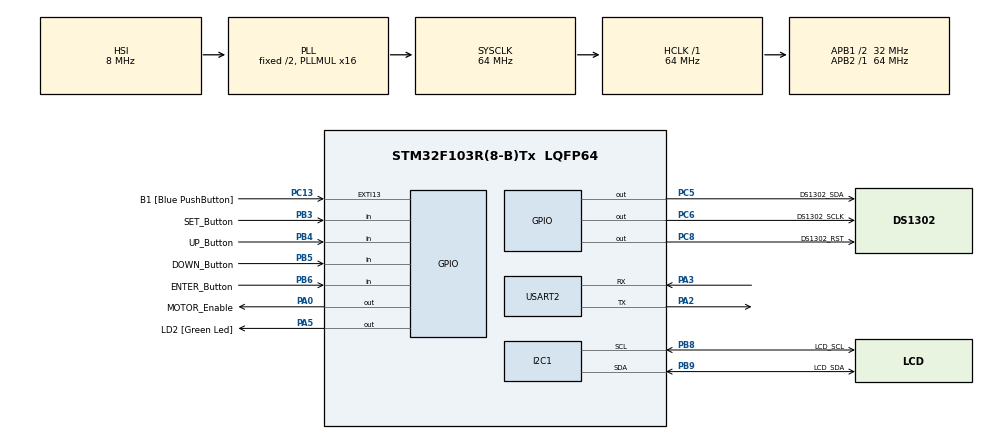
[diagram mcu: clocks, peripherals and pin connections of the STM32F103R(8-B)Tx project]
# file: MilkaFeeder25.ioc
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Mcu.Family=STM32F1
Mcu.Name=STM32F103R(8-B)Tx
Mcu.Package=LQFP64
NVIC.EXTI15_10_IRQn=true\:0\:0\:false\:false\:true\:true\:true\:true
NVIC.PriorityGroup=NVIC_PRIORITYGROUP_4
NVIC.TIM2_IRQn=true\:0\:0\:false\:false\:true\:true\:true\:true
NVIC.TIM3_IRQn=true\:0\:0\:false\:false\:true\:true\:true\:true
PA0-WKUP.GPIO_Label=MOTOR_Enable
PA0-WKUP.Signal=GPIO_Output
PA13.GPIO_Label=TMS
PA13.Mode=Serial_Wire
PA13.Signal=SYS_JTMS-SWDIO
PA14.GPIO_Label=TCK
PA14.Mode=Serial_Wire
PA14.Signal=SYS_JTCK-SWCLK
PA2.Mode=Asynchronous
PA2.Signal=USART2_TX
PA3.Mode=Asynchronous
PA3.Signal=USART2_RX
PA5.GPIO_Label=LD2 [Green Led]
PA5.GPIO_ModeDefaultOutputPP=GPIO_MODE_OUTPUT_PP
PA5.GPIO_PuPd=GPIO_NOPULL
PA5.GPIO_Speed=GPIO_SPEED_FREQ_LOW
PA5.Signal=GPIO_Output
PB3.GPIO_Label=SET_Button
PB3.GPIO_PuPd=GPIO_PULLDOWN
PB3.Signal=GPIO_Input
PB4.GPIO_Label=UP_Button
PB4.GPIO_PuPd=GPIO_PULLDOWN
PB4.Signal=GPIO_Input
PB5.GPIO_Label=DOWN_Button
PB5.GPIO_PuPd=GPIO_PULLDOWN
PB5.Signal=GPIO_Input
PB6.GPIO_Label=ENTER_Button
PB6.GPIO_PuPd=GPIO_PULLDOWN
PB6.Signal=GPIO_Input
PB8.GPIO_Label=LCD_SCL
PB8.Mode=I2C
PB8.Signal=I2C1_SCL
PB9.GPIO_Label=LCD_SDA
PB9.Mode=I2C
PB9.Signal=I2C1_SDA
PC13-TAMPER-RTC.GPIO_Label=B1 [Blue PushButton]
PC13-TAMPER-RTC.GPIO_ModeDefaultEXTI=GPIO_MODE_IT_FALLING
PC13-TAMPER-RTC.GPIO_PuPd=GPIO_NOPULL
PC13-TAMPER-RTC.Signal=GPXTI13
PC14-OSC32_IN.Mode=LSE-External-Oscillator
PC14-OSC32_IN.Signal=RCC_OSC32_IN
PC15-OSC32_OUT.Mode=LSE-External-Oscillator
PC15-OSC32_OUT.Signal=RCC_OSC32_OUT
PC5.GPIO_Label=DS1302_SDA
PC5.GPIO_Speed=GPIO_SPEED_FREQ_HIGH
PC5.Signal=GPIO_Output
PC6.GPIO_Label=DS1302_SCLK
PC6.GPIO_Speed=GPIO_SPEED_FREQ_HIGH
PC6.Signal=GPIO_Output
PC8.GPIO_Label=DS1302_RST
PC8.GPIO_Speed=GPIO_SPEED_FREQ_HIGH
PC8.Signal=GPIO_Output
ProjectManager.HeapSize=0x200
ProjectManager.StackSize=0x400
ProjectManager.TargetToolchain=STM32CubeIDE
RCC.AHBFreq_Value=64000000
RCC.APB1CLKDivider=RCC_HCLK_DIV2
RCC.APB1Freq_Value=32000000
RCC.APB1TimFreq_Value=64000000
RCC.APB2Freq_Value=64000000
RCC.APB2TimFreq_Value=64000000
RCC.HCLKFreq_Value=64000000
RCC.PLLMUL=RCC_PLL_MUL16
RCC.RTCClockSelection=RCC_RTCCLKSOURCE_LSE
RCC.SYSCLKFreq_VALUE=64000000
RCC.SYSCLKSource=RCC_SYSCLKSOURCE_PLLCLK
RCC.USBFreq_Value=64000000
TIM2.Period=10
TIM2.Prescaler=64000-1
TIM3.Period=2001
TIM3.Prescaler=64000 - 1
USART2.VirtualMode=VM_ASYNC
VP_RTC_VS_RTC_Activate.Mode=RTC_Enabled
VP_RTC_VS_RTC_Calendar.Mode=RTC_Calendar
VP_TIM2_VS_ClockSourceINT.Mode=Internal
VP_TIM3_VS_ClockSourceINT.Mode=Internal
board=NUCLEO-F103RB

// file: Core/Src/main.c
/* USER CODE BEGIN Header */
/**
  ******************************************************************************
  * @file           : main.c
  * @brief          : Main program body
  ******************************************************************************
  * @attention
  *
  * Copyright (c) 2024 STMicroelectronics.
  * All rights reserved.
  *
  * This software is licensed under terms that can be found in the LICENSE file
  * in the root directory of this software component.
  * If no LICENSE file comes with this software, it is provided AS-IS.
  *
  ******************************************************************************
  */
/* USER CODE END Header */
#include "main.h"

/* USER CODE BEGIN Includes */
#include "i2c-lcd.h"
/* USER CODE END Includes */

/* USER CODE BEGIN PD */
#define INIT_HOUR 0x15
#define INIT_MINUTE 0x30
#define INIT_SECOND 0x45
#define INIT_YEAR 0x24
#define INIT_MONTH RTC_MONTH_DECEMBER
#define INIT_DAY 0x18

#define DEBOUNCE_DELAY 3 // number of consecutive checks over ~30ms if sampling every 10ms
#define BUTTON_COUNT 4
/* USER CODE END PD */

I2C_HandleTypeDef hi2c1;

RTC_HandleTypeDef hrtc;

TIM_HandleTypeDef htim2;
TIM_HandleTypeDef htim3;

UART_HandleTypeDef huart2;

/* USER CODE BEGIN PV */
volatile uint8_t buttonStableState[BUTTON_COUNT] = {0, 0, 0, 0}; // all released initially
uint8_t buttonCounter[BUTTON_COUNT] = {0, 0, 0, 0};
char* days[7] = {"Sunday", "Monday", "Tuesday", "Wednesday", "Thursday", "Friday", "Saturday"};
/* USER CODE END PV */

void SystemClock_Config(void);
static void MX_GPIO_Init(void);
static void MX_I2C1_Init(void);
static void MX_RTC_Init(void);
static void MX_TIM2_Init(void);
static void MX_USART2_UART_Init(void);
static void MX_TIM3_Init(void);
/* USER CODE BEGIN PFP */
uint8_t read_button_pin(uint8_t buttonIndex);
void debounce_buttons(void);
AppState currentState = IDLE_STATE;
AppState lastState	  = IDLE_STATE;
/* USER CODE END PFP */

int main(void)
{

  /* MCU Configuration--------------------------------------------------------*/

  /* Reset of all peripherals, Initializes the Flash interface and the Systick. */
  HAL_Init();

  /* Configure the system clock */
  SystemClock_Config();

  /* Initialize all configured peripherals */
  MX_GPIO_Init();
  MX_I2C1_Init();
  MX_RTC_Init();
  MX_TIM2_Init();
  MX_USART2_UART_Init();
  MX_TIM3_Init();
  /* USER CODE BEGIN 2 */
  dwt_init();
  lcd_init();
  lcd_clear();
  HAL_TIM_Base_Start_IT(&htim2);
  DS1302_Init();
  /* use this code for set the time of DS1302
  uint8_t buf[8] = {0, 25, 1, 8, 14, 51, 0, 3};
  DS1302_WriteTime(buf);
  */
  setTimeDateFromExtRTC();
  /* USER CODE END 2 */

  /* Infinite loop */
  while (1)
  {

    /* USER CODE BEGIN 3 */
	  handleLCDMonitor();
	  checkIfIsTimeToFeed();
  }
  /* USER CODE END 3 */
}

void SystemClock_Config(void)
{
  RCC_OscInitTypeDef RCC_OscInitStruct = {0};
  RCC_ClkInitTypeDef RCC_ClkInitStruct = {0};
  RCC_PeriphCLKInitTypeDef PeriphClkInit = {0};

  /** Initializes the RCC Oscillators according to the specified parameters
  * in the RCC_OscInitTypeDef structure.
  */
  RCC_OscInitStruct.OscillatorType = RCC_OSCILLATORTYPE_HSI|RCC_OSCILLATORTYPE_LSE;
  RCC_OscInitStruct.LSEState = RCC_LSE_ON;
  RCC_OscInitStruct.HSIState = RCC_HSI_ON;
  RCC_OscInitStruct.HSICalibrationValue = RCC_HSICALIBRATION_DEFAULT;
  RCC_OscInitStruct.PLL.PLLState = RCC_PLL_ON;
  RCC_OscInitStruct.PLL.PLLSource = RCC_PLLSOURCE_HSI_DIV2;
  RCC_OscInitStruct.PLL.PLLMUL = RCC_PLL_MUL16;
  if (HAL_RCC_OscConfig(&RCC_OscInitStruct) != HAL_OK)
  {
    Error_Handler();
  }

  /** Initializes the CPU, AHB and APB buses clocks
  */
  RCC_ClkInitStruct.ClockType = RCC_CLOCKTYPE_HCLK|RCC_CLOCKTYPE_SYSCLK
                              |RCC_CLOCKTYPE_PCLK1|RCC_CLOCKTYPE_PCLK2;
  RCC_ClkInitStruct.SYSCLKSource = RCC_SYSCLKSOURCE_PLLCLK;
  RCC_ClkInitStruct.AHBCLKDivider = RCC_SYSCLK_DIV1;
  RCC_ClkInitStruct.APB1CLKDivider = RCC_HCLK_DIV2;
  RCC_ClkInitStruct.APB2CLKDivider = RCC_HCLK_DIV1;

  if (HAL_RCC_ClockConfig(&RCC_ClkInitStruct, FLASH_LATENCY_2) != HAL_OK)
  {
    Error_Handler();
  }
  PeriphClkInit.PeriphClockSelection = RCC_PERIPHCLK_RTC;
  PeriphClkInit.RTCClockSelection = RCC_RTCCLKSOURCE_LSE;
  if (HAL_RCCEx_PeriphCLKConfig(&PeriphClkInit) != HAL_OK)
  {
    Error_Handler();
  }
}

static void MX_I2C1_Init(void)
{

  hi2c1.Instance = I2C1;
  hi2c1.Init.ClockSpeed = 100000;
  hi2c1.Init.DutyCycle = I2C_DUTYCYCLE_2;
  hi2c1.Init.OwnAddress1 = 0;
  hi2c1.Init.AddressingMode = I2C_ADDRESSINGMODE_7BIT;
  hi2c1.Init.DualAddressMode = I2C_DUALADDRESS_DISABLE;
  hi2c1.Init.OwnAddress2 = 0;
  hi2c1.Init.GeneralCallMode = I2C_GENERALCALL_DISABLE;
  hi2c1.Init.NoStretchMode = I2C_NOSTRETCH_DISABLE;
  if (HAL_I2C_Init(&hi2c1) != HAL_OK)
  {
    Error_Handler();
  }

}

static void MX_RTC_Init(void)
{

  RTC_TimeTypeDef sTime = {0};
  RTC_DateTypeDef DateToUpdate = {0};

  /** Initialize RTC Only
  */
  hrtc.Instance = RTC;
  hrtc.Init.AsynchPrediv = RTC_AUTO_1_SECOND;
  hrtc.Init.OutPut = RTC_OUTPUTSOURCE_ALARM;
  if (HAL_RTC_Init(&hrtc) != HAL_OK)
  {
    Error_Handler();
  }

  /** Initialize RTC and set the Time and Date
  */
  sTime.Hours = 0x0;
  sTime.Minutes = 0x0;
  sTime.Seconds = 0x0;

  if (HAL_RTC_SetTime(&hrtc, &sTime, RTC_FORMAT_BCD) != HAL_OK)
  {
    Error_Handler();
  }
  DateToUpdate.WeekDay = RTC_WEEKDAY_MONDAY;
  DateToUpdate.Month = RTC_MONTH_JANUARY;
  DateToUpdate.Date = 0x1;
  DateToUpdate.Year = 0x0;

  if (HAL_RTC_SetDate(&hrtc, &DateToUpdate, RTC_FORMAT_BCD) != HAL_OK)
  {
    Error_Handler();
  }

}

static void MX_TIM2_Init(void)
{

  TIM_ClockConfigTypeDef sClockSourceConfig = {0};
  TIM_MasterConfigTypeDef sMasterConfig = {0};

  htim2.Instance = TIM2;
  htim2.Init.Prescaler = 64000-1;
  htim2.Init.CounterMode = TIM_COUNTERMODE_UP;
  htim2.Init.Period = 10;
  htim2.Init.ClockDivision = TIM_CLOCKDIVISION_DIV1;
  htim2.Init.AutoReloadPreload = TIM_AUTORELOAD_PRELOAD_DISABLE;
  if (HAL_TIM_Base_Init(&htim2) != HAL_OK)
  {
    Error_Handler();
  }
  sClockSourceConfig.ClockSource = TIM_CLOCKSOURCE_INTERNAL;
  if (HAL_TIM_ConfigClockSource(&htim2, &sClockSourceConfig) != HAL_OK)
  {
    Error_Handler();
  }
  sMasterConfig.MasterOutputTrigger = TIM_TRGO_RESET;
  sMasterConfig.MasterSlaveMode = TIM_MASTERSLAVEMODE_DISABLE;
  if (HAL_TIMEx_MasterConfigSynchronization(&htim2, &sMasterConfig) != HAL_OK)
  {
    Error_Handler();
  }

}

static void MX_TIM3_Init(void)
{

  TIM_ClockConfigTypeDef sClockSourceConfig = {0};
  TIM_MasterConfigTypeDef sMasterConfig = {0};

  htim3.Instance = TIM3;
  htim3.Init.Prescaler = 64000 - 1;
  htim3.Init.CounterMode = TIM_COUNTERMODE_UP;
  htim3.Init.Period = 2001;
  htim3.Init.ClockDivision = TIM_CLOCKDIVISION_DIV1;
  htim3.Init.AutoReloadPreload = TIM_AUTORELOAD_PRELOAD_DISABLE;
  if (HAL_TIM_Base_Init(&htim3) != HAL_OK)
  {
    Error_Handler();
  }
  sClockSourceConfig.ClockSource = TIM_CLOCKSOURCE_INTERNAL;
  if (HAL_TIM_ConfigClockSource(&htim3, &sClockSourceConfig) != HAL_OK)
  {
    Error_Handler();
  }
  sMasterConfig.MasterOutputTrigger = TIM_TRGO_RESET;
  sMasterConfig.MasterSlaveMode = TIM_MASTERSLAVEMODE_DISABLE;
  if (HAL_TIMEx_MasterConfigSynchronization(&htim3, &sMasterConfig) != HAL_OK)
  {
    Error_Handler();
  }

}

static void MX_USART2_UART_Init(void)
{

  huart2.Instance = USART2;
  huart2.Init.BaudRate = 115200;
  huart2.Init.WordLength = UART_WORDLENGTH_8B;
  huart2.Init.StopBits = UART_STOPBITS_1;
  huart2.Init.Parity = UART_PARITY_NONE;
  huart2.Init.Mode = UART_MODE_TX_RX;
  huart2.Init.HwFlowCtl = UART_HWCONTROL_NONE;
  huart2.Init.OverSampling = UART_OVERSAMPLING_16;
  if (HAL_UART_Init(&huart2) != HAL_OK)
  {
    Error_Handler();
  }

}

static void MX_GPIO_Init(void)
{
  GPIO_InitTypeDef GPIO_InitStruct = {0};

  /* GPIO Ports Clock Enable */
  __HAL_RCC_GPIOC_CLK_ENABLE();
  __HAL_RCC_GPIOA_CLK_ENABLE();
  __HAL_RCC_GPIOB_CLK_ENABLE();

  /*Configure GPIO pin Output Level */
  HAL_GPIO_WritePin(GPIOA, MOTOR_Enable_Pin|LD2_Pin, GPIO_PIN_RESET);

  /*Configure GPIO pin Output Level */
  HAL_GPIO_WritePin(GPIOC, DS1302_SDA_Pin|DS1302_SCLK_Pin|DS1302_RST_Pin, GPIO_PIN_RESET);

  /*Configure GPIO pin : B1_Pin */
  GPIO_InitStruct.Pin = B1_Pin;
  GPIO_InitStruct.Mode = GPIO_MODE_IT_FALLING;
  GPIO_InitStruct.Pull = GPIO_NOPULL;
  HAL_GPIO_Init(B1_GPIO_Port, &GPIO_InitStruct);

  /*Configure GPIO pins : MOTOR_Enable_Pin LD2_Pin */
  GPIO_InitStruct.Pin = MOTOR_Enable_Pin|LD2_Pin;
  GPIO_InitStruct.Mode = GPIO_MODE_OUTPUT_PP;
  GPIO_InitStruct.Pull = GPIO_NOPULL;
  GPIO_InitStruct.Speed = GPIO_SPEED_FREQ_LOW;
  HAL_GPIO_Init(GPIOA, &GPIO_InitStruct);

  /*Configure GPIO pins : DS1302_SDA_Pin DS1302_SCLK_Pin DS1302_RST_Pin */
  GPIO_InitStruct.Pin = DS1302_SDA_Pin|DS1302_SCLK_Pin|DS1302_RST_Pin;
  GPIO_InitStruct.Mode = GPIO_MODE_OUTPUT_PP;
  GPIO_InitStruct.Pull = GPIO_NOPULL;
  GPIO_InitStruct.Speed = GPIO_SPEED_FREQ_HIGH;
  HAL_GPIO_Init(GPIOC, &GPIO_InitStruct);

  /*Configure GPIO pins : SET_Button_Pin UP_Button_Pin DOWN_Button_Pin ENTER_Button_Pin */
  GPIO_InitStruct.Pin = SET_Button_Pin|UP_Button_Pin|DOWN_Button_Pin|ENTER_Button_Pin;
  GPIO_InitStruct.Mode = GPIO_MODE_INPUT;
  GPIO_InitStruct.Pull = GPIO_PULLDOWN;
  HAL_GPIO_Init(GPIOB, &GPIO_InitStruct);

  /* EXTI interrupt init*/
  HAL_NVIC_SetPriority(EXTI15_10_IRQn, 0, 0);
  HAL_NVIC_EnableIRQ(EXTI15_10_IRQn);

}

/* USER CODE BEGIN 4 */
void triggerOnce(void)
{
    // 1. Stop the timer (in case it's still running or flagged)
    HAL_TIM_Base_Stop_IT(&htim3);

    // 2. Clear any pending update flags
    __HAL_TIM_CLEAR_FLAG(&htim3, TIM_FLAG_UPDATE);

    // 3. Reset the counter
    __HAL_TIM_SET_COUNTER(&htim3, 0);

    // 4. (Re)Start the timer in interrupt mode
    HAL_TIM_Base_Start_IT(&htim3);
}

void setTimerInterval(uint32_t newPeriod)
{
    // 1. Stop the timer first
    HAL_TIM_Base_Stop_IT(&htim3);

    // 2. Update auto-reload (ARR)
    __HAL_TIM_SET_AUTORELOAD(&htim3, newPeriod);

    // 3. Reset the counter to 0 for a clean start
    __HAL_TIM_SET_COUNTER(&htim3, 0);

    // 4. Clear any pending update flag
    __HAL_TIM_CLEAR_FLAG(&htim3, TIM_FLAG_UPDATE);
}

void HAL_TIM_PeriodElapsedCallback(TIM_HandleTypeDef *htim)
{
    if (htim->Instance == TIM2) {
    	debounce_buttons();
    }
    else if (htim->Instance == TIM3)
    {
    	stopFeeding();
    	HAL_TIM_Base_Stop_IT(&htim3);
    }
}

uint8_t read_button_pin(uint8_t buttonIndex) {
    // This function reads the actual pin state directly:
    switch(buttonIndex) {
      case 0: return HAL_GPIO_ReadPin(GPIOB, SET_Button_Pin);
      case 1: return HAL_GPIO_ReadPin(GPIOB, UP_Button_Pin);
      case 2: return HAL_GPIO_ReadPin(GPIOB, DOWN_Button_Pin);
      case 3: return HAL_GPIO_ReadPin(GPIOB, ENTER_Button_Pin);
    }
    return 1;
}

void debounce_buttons() {
    for (uint8_t i=0; i < BUTTON_COUNT; i++) {
        uint8_t rawState = read_button_pin(i);

        // Check if rawState differs from stable state
        if (rawState != buttonStableState[i]) {
            buttonCounter[i]++;
            if (buttonCounter[i] >= DEBOUNCE_DELAY) {
                // Confirm stable change
                buttonStableState[i] = rawState;
                buttonCounter[i] = 0;

                 if (buttonStableState[i] == 1)
                 {
                	 handle_event(i + 1);
                 }
            }
        }
        else {
            // No difference, reset the counter
            buttonCounter[i] = 0;
        }
    }
}
/* USER CODE END 4 */

void Error_Handler(void)
{
  __disable_irq();
  while (1)
  {
  }
}
